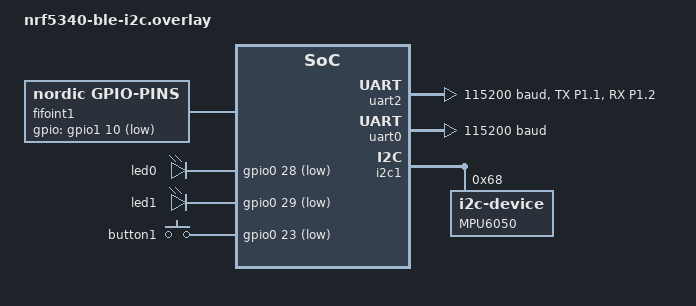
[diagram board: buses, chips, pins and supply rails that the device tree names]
/ {
    fifoint1: fifoint1 {
        compatible = "nordic,gpio-pins";  
        gpios = <&gpio1 10 GPIO_ACTIVE_LOW>;
    }; 
 

aliases {
        led0 = &led0;
        led1 = &led1;
        button1 = &button1;
        fifoint = &fifoint1;
    };
};

/* Override LED0 definition */
&led0 {
    gpios = <&gpio0 28 GPIO_ACTIVE_LOW>;
};
&led1 {
    gpios = <&gpio0 29 GPIO_ACTIVE_LOW>;
};
&button1 {
    gpios = <&gpio0 23 GPIO_ACTIVE_LOW>;
};

&pinctrl {
    uart2_default: uart2_default {
        group1 {
            psels = <
                NRF_PSEL(UART_TX, 1, 1)
                NRF_PSEL(UART_RX, 1, 2)
            >;
        };
    };
};

&uart2 {
    status = "okay";
    current-speed = <115200>;
    pinctrl-0 = <&uart2_default>;
    pinctrl-names = "default";
};

&uart0 {
    current-speed = <115200>;   // logging UART
};

&i2c1{
    mpu6050:mpu6050@68{
        compatible = "i2c-device";
        reg = < 0x68 >;
        status = "okay";
        label = "MPU6050";
    };
};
